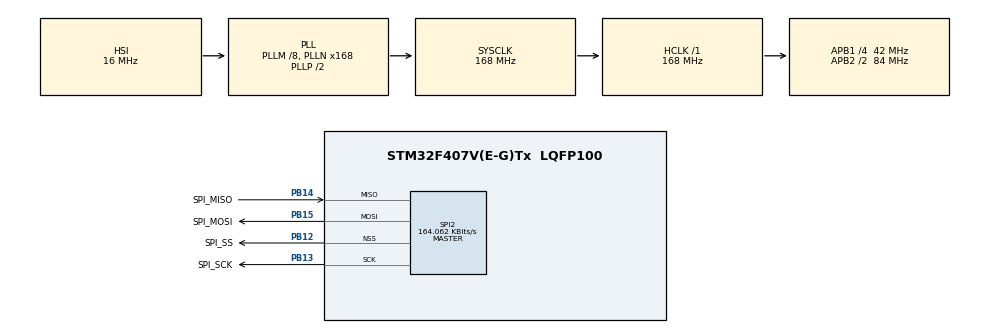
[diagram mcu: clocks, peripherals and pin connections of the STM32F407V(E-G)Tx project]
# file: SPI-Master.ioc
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Dma.Request0=SPI2_RX
Dma.Request1=SPI2_TX
Dma.SPI2_RX.0.Direction=DMA_PERIPH_TO_MEMORY
Dma.SPI2_RX.0.FIFOMode=DMA_FIFOMODE_DISABLE
Dma.SPI2_RX.0.Instance=DMA1_Stream3
Dma.SPI2_RX.0.MemDataAlignment=DMA_MDATAALIGN_BYTE
Dma.SPI2_RX.0.MemInc=DMA_MINC_ENABLE
Dma.SPI2_RX.0.Mode=DMA_NORMAL
Dma.SPI2_RX.0.PeriphDataAlignment=DMA_PDATAALIGN_BYTE
Dma.SPI2_RX.0.PeriphInc=DMA_PINC_DISABLE
Dma.SPI2_RX.0.Priority=DMA_PRIORITY_LOW
Dma.SPI2_TX.1.Direction=DMA_MEMORY_TO_PERIPH
Dma.SPI2_TX.1.FIFOMode=DMA_FIFOMODE_DISABLE
Dma.SPI2_TX.1.Instance=DMA1_Stream4
Dma.SPI2_TX.1.MemDataAlignment=DMA_MDATAALIGN_BYTE
Dma.SPI2_TX.1.MemInc=DMA_MINC_ENABLE
Dma.SPI2_TX.1.Mode=DMA_NORMAL
Dma.SPI2_TX.1.PeriphDataAlignment=DMA_PDATAALIGN_BYTE
Dma.SPI2_TX.1.PeriphInc=DMA_PINC_DISABLE
Dma.SPI2_TX.1.Priority=DMA_PRIORITY_LOW
Mcu.Family=STM32F4
Mcu.Name=STM32F407V(E-G)Tx
Mcu.Package=LQFP100
NVIC.DMA1_Stream3_IRQn=true\:0\:0\:false\:false\:true\:false\:true
NVIC.DMA1_Stream4_IRQn=true\:0\:0\:false\:false\:true\:false\:true
NVIC.PriorityGroup=NVIC_PRIORITYGROUP_4
NVIC.SPI2_IRQn=true\:0\:0\:false\:false\:true\:true\:true
PB12.GPIO_Label=SPI_SS
PB12.Mode=NSS_Signal_Hard_Output
PB12.Signal=SPI2_NSS
PB13.GPIO_Label=SPI_SCK
PB13.Mode=Full_Duplex_Master
PB13.Signal=SPI2_SCK
PB14.GPIO_Label=SPI_MISO
PB14.Mode=Full_Duplex_Master
PB14.Signal=SPI2_MISO
PB15.GPIO_Label=SPI_MOSI
PB15.Mode=Full_Duplex_Master
PB15.Signal=SPI2_MOSI
ProjectManager.HeapSize=0x200
ProjectManager.StackSize=0x400
ProjectManager.TargetToolchain=MDK-ARM V5.27
RCC.48MHZClocksFreq_Value=84000000
RCC.AHBFreq_Value=168000000
RCC.APB1CLKDivider=RCC_HCLK_DIV4
RCC.APB1Freq_Value=42000000
RCC.APB1TimFreq_Value=84000000
RCC.APB2CLKDivider=RCC_HCLK_DIV2
RCC.APB2Freq_Value=84000000
RCC.APB2TimFreq_Value=168000000
RCC.CortexFreq_Value=168000000
RCC.HCLKFreq_Value=168000000
RCC.HSE_VALUE=25000000
RCC.HSI_VALUE=16000000
RCC.LSE_VALUE=32768
RCC.PLLM=8
RCC.PLLN=168
RCC.SYSCLKFreq_VALUE=168000000
RCC.SYSCLKSource=RCC_SYSCLKSOURCE_PLLCLK
RCC.VCOOutputFreq_Value=336000000
SPI2.BaudRatePrescaler=SPI_BAUDRATEPRESCALER_256
SPI2.CLKPhase=SPI_PHASE_2EDGE
SPI2.CLKPolarity=SPI_POLARITY_HIGH
SPI2.CalculateBaudRate=164.062 KBits/s
SPI2.Direction=SPI_DIRECTION_2LINES
SPI2.Mode=SPI_MODE_MASTER
SPI2.VirtualNSS=VM_NSSHARD
SPI2.VirtualType=VM_MASTER
board=custom

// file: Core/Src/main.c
/* USER CODE BEGIN Header */
/**
  ******************************************************************************
  * @file           : main.c
  * @brief          : Main program body
  ******************************************************************************
  * @attention
  *
  * <h2><center>&copy; Copyright (c) 2024 STMicroelectronics.
  * All rights reserved.</center></h2>
  *
  * This software component is licensed by ST under BSD 3-Clause license,
  * the "License"; You may not use this file except in compliance with the
  * License. You may obtain a copy of the License at:
  *                        opensource.org/licenses/BSD-3-Clause
  *
  ******************************************************************************
  */
/* USER CODE END Header */
#include "main.h"
#include "dma.h"
#include "spi.h"
#include "gpio.h"

/* USER CODE BEGIN Includes */
#include "ALCD.h"

/* USER CODE END Includes */

/* USER CODE BEGIN PTD */
typedef struct {
  uint32_t          Timestamp;
  uint32_t          Counter;
} Frame;
/* USER CODE END PTD */

/* USER CODE BEGIN PV */
static Frame txFrame = {0};
static Frame rxFrame = {0};

static uint8_t txFlag = 0;
static uint8_t rxFlag = 0;

/* USER CODE END PV */

void SystemClock_Config(void);

int main(void)
{
  /* USER CODE BEGIN 1 */
  uint32_t nextSend = 0;
  /* USER CODE END 1 */

  /* MCU Configuration--------------------------------------------------------*/

  /* Reset of all peripherals, Initializes the Flash interface and the Systick. */
  HAL_Init();

  /* Configure the system clock */
  SystemClock_Config();

  /* Initialize all configured peripherals */
  MX_GPIO_Init();
  MX_DMA_Init();
  MX_SPI2_Init();
  /* USER CODE BEGIN 2 */
  ALCD_init(16, 2);
  ALCD_clear();
  /* USER CODE END 2 */

  /* Infinite loop */
  /* USER CODE BEGIN WHILE */
  txFlag = 1;
  while (1)
  {
    if (txFlag && nextSend <= HAL_GetTick()) {
      nextSend = HAL_GetTick() + 1000;
      txFlag = 0;

      txFrame.Timestamp = HAL_GetTick();
      txFrame.Counter++;
      HAL_SPI_TransmitReceive_IT(&hspi2, (uint8_t*) &txFrame, (uint8_t*) &rxFrame, sizeof(Frame));

      ALCD_printfXY(0, 0, "T:%-6u%u", txFrame.Counter, txFrame.Timestamp);
    }

    if (rxFlag) {
      rxFlag = 0;
      ALCD_printfXY(0, 1, "R:%-6u%u", rxFrame.Counter, rxFrame.Timestamp);
    }

    /* USER CODE END WHILE */

  }
}

void SystemClock_Config(void)
{
  RCC_OscInitTypeDef RCC_OscInitStruct = {0};
  RCC_ClkInitTypeDef RCC_ClkInitStruct = {0};

  /** Configure the main internal regulator output voltage
  */
  __HAL_RCC_PWR_CLK_ENABLE();
  __HAL_PWR_VOLTAGESCALING_CONFIG(PWR_REGULATOR_VOLTAGE_SCALE1);
  /** Initializes the RCC Oscillators according to the specified parameters
  * in the RCC_OscInitTypeDef structure.
  */
  RCC_OscInitStruct.OscillatorType = RCC_OSCILLATORTYPE_HSI;
  RCC_OscInitStruct.HSIState = RCC_HSI_ON;
  RCC_OscInitStruct.HSICalibrationValue = RCC_HSICALIBRATION_DEFAULT;
  RCC_OscInitStruct.PLL.PLLState = RCC_PLL_ON;
  RCC_OscInitStruct.PLL.PLLSource = RCC_PLLSOURCE_HSI;
  RCC_OscInitStruct.PLL.PLLM = 8;
  RCC_OscInitStruct.PLL.PLLN = 168;
  RCC_OscInitStruct.PLL.PLLP = RCC_PLLP_DIV2;
  RCC_OscInitStruct.PLL.PLLQ = 4;
  if (HAL_RCC_OscConfig(&RCC_OscInitStruct) != HAL_OK)
  {
    Error_Handler();
  }
  /** Initializes the CPU, AHB and APB buses clocks
  */
  RCC_ClkInitStruct.ClockType = RCC_CLOCKTYPE_HCLK|RCC_CLOCKTYPE_SYSCLK
                              |RCC_CLOCKTYPE_PCLK1|RCC_CLOCKTYPE_PCLK2;
  RCC_ClkInitStruct.SYSCLKSource = RCC_SYSCLKSOURCE_PLLCLK;
  RCC_ClkInitStruct.AHBCLKDivider = RCC_SYSCLK_DIV1;
  RCC_ClkInitStruct.APB1CLKDivider = RCC_HCLK_DIV4;
  RCC_ClkInitStruct.APB2CLKDivider = RCC_HCLK_DIV2;

  if (HAL_RCC_ClockConfig(&RCC_ClkInitStruct, FLASH_LATENCY_5) != HAL_OK)
  {
    Error_Handler();
  }
}

/* USER CODE BEGIN 4 */
void HAL_SPI_TxRxCpltCallback(SPI_HandleTypeDef* hspi) {
  switch ((uint32_t) hspi->Instance) {
    case SPI2_BASE:
      txFlag = 1;
      rxFlag = 1;
      break;
  }
}

void HAL_SPI_ErrorCallback(SPI_HandleTypeDef* hspi) {
  switch ((uint32_t) hspi->Instance) {
    case SPI2_BASE:
      //HAL_SPI_TransmitReceive_DMA(&hspi2, (uint8_t*) &txFrame, (uint8_t*) &rxFrame, sizeof(Frame));
      break;
  }
}

/* USER CODE END 4 */

void Error_Handler(void)
{
  __disable_irq();
  while (1)
  {
  }
}

/************************ (C) COPYRIGHT STMicroelectronics *****END OF FILE****/
